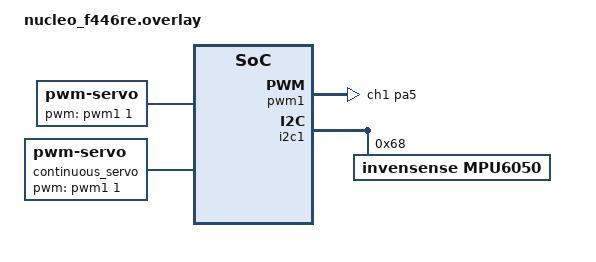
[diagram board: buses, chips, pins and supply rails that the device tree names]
/ {
     servo: ms189g {
          compatible = "pwm-servo";
          pwms = <&pwm1 1 PWM_MSEC(20) PWM_POLARITY_NORMAL>;
          min-pulse = <PWM_USEC(850)>;
          max-pulse = <PWM_USEC(2350)>;
     };

     continuous_servo: td8210mg {
          compatible = "pwm-servo";
          pwms = <&pwm1 1 PWM_MSEC(20) PWM_POLARITY_NORMAL>;
          min-pulse = <PWM_USEC(500)>;
          max-pulse = <PWM_USEC(2500)>;
     };

};

&timers2{
     pwm1: pwm {
          status = "okay";
          pinctrl-0 = <&tim2_ch1_pa5>;
          pinctrl-names = "default";
     };
};

&i2c1 {
     imu: mpu6050@68 {
             compatible = "invensense,mpu6050";
             label = "mpu6050";
             reg = <0x68>;
     };
};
